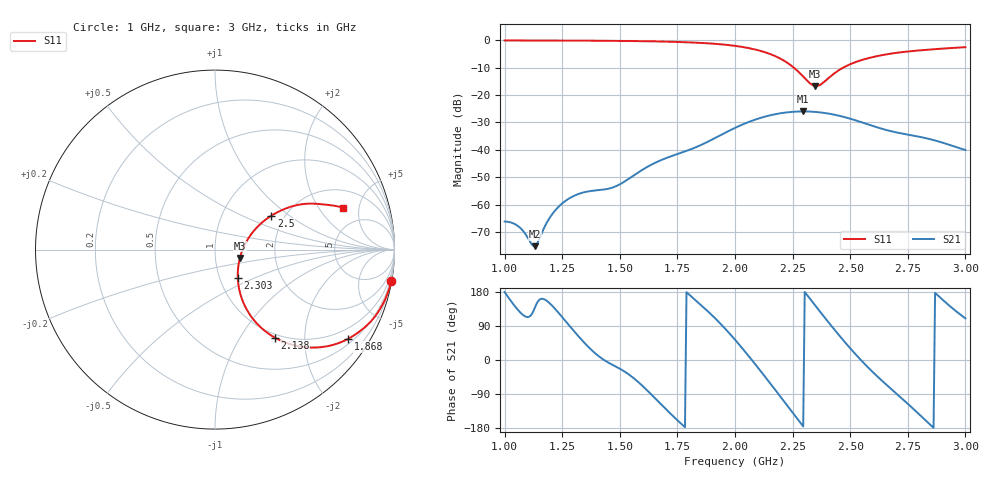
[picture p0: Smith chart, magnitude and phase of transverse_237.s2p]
! TOUCHSTONE file generated by CST MICROWAVE STUDIO
! Date and time: Tue Mar 11 13:57:57 2025
! Project name: transverse.cst
! Parameters = {Fracture=1; B=10; D=160; F=15; Feed=2.85625; L=100; M=30; R=0.384908; S=1; Theta=270; length=57.125; wave=114.25}
! Header version: 2024
! Port assignment regex: !\s*Touchstone port\s*([0-9]+)\s*=\s*(CST MWS port|CST DES external port|CST DES block port)\s*(.+)\s* \(\"(.*)\"\)(\s*mode\s*([0-9]+))?.*
! Touchstone port assignment:
! Touchstone port 1 = CST MWS port 1 ("")
! Touchstone port 2 = CST MWS port 2 ("")
# GHz S MA R 50
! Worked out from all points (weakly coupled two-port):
!   305 points, 1 GHz to 3 GHz, reference 50 ohm
!   highest |S21| = -25.96 dB at 2.296 GHz (marker M1); lowest = -75.2 dB at 1.132 GHz (marker M2)
!   lowest |S11| = -16.7 dB at 2.349 GHz (marker M3), VSWR 1.34, Z = 65.8 - j6.23 ohm
!   |S11| at or under -10 dB: 2.256 GHz to 2.469 GHz (212.8 MHz wide, 9.01 % of centre)
!   S12 and S22 are empty: the file has one direction only
!   S11 on the Smith chart (normalised r, x): 1 GHz: 0, -11; 1.868 GHz: 0.65, -3.16; 2.138 GHz: 0.95, -1.43; 2.303 GHz: 1.22, -0.41; 2.5 GHz: 1.71, +0.75; 3 GHz: 3.22, +3.43
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1  0.9975 -10.0  0.0004906 179.3  0 0.0  0 0.0
1.05921  0.9968 -10.8  0.0004015 131.2  0 0.0  0 0.0
1.11842  0.9961 -11.7  0.0001865 121.4  0 0.0  0 0.0
1.13158  0.9958 -11.9  0.0001738 138.5  0 0.0  0 0.0
1.18421  0.9946 -12.7  0.000477 155.7  0 0.0  0 0.0
1.22368  0.9934 -13.4  0.0008198 131.8  0 0.0  0 0.0
1.27632  0.9916 -14.3  0.001266 94.0  0 0.0  0 0.0
1.33553  0.9896 -15.5  0.001637 52.4  0 0.0  0 0.0
1.48026  0.9806 -18.8  0.002138 -16.6  0 0.0  0 0.0
1.67105  0.9564 -24.7  0.006277 -111.9  0 0.0  0 0.0
1.86842  0.892 -33.9  0.01319 136.3  0 0.0  0 0.0
2  0.7943 -43.3  0.0252 53.6  0 0.0  0 0.0
2.13816  0.5927 -55.8  0.04135 -50.1  0 0.0  0 0.0
2.22368  0.3987 -62.0  0.04831 -117.8  0 0.0  0 0.0
2.29605  0.2187 -54.1  0.05036 -175.3  0 0.0  0 0.0
2.30263  0.2046 -51.6  0.05035 179.5  0 0.0  0 0.0
2.33553  0.1534 -30.5  0.04978 153.6  0 0.0  0 0.0
2.34868  0.1464 -18.4  0.04933 143.4  0 0.0  0 0.0
2.5  0.3669 31.0  0.0371 31.0  0 0.0  0 0.0
2.67105  0.5684 26.7  0.02225 -72.8  0 0.0  0 0.0
2.84868  0.682 21.4  0.01561 -171.6  0 0.0  0 0.0
3  0.7515 18.0  0.009949 110.0  0 0.0  0 0.0
